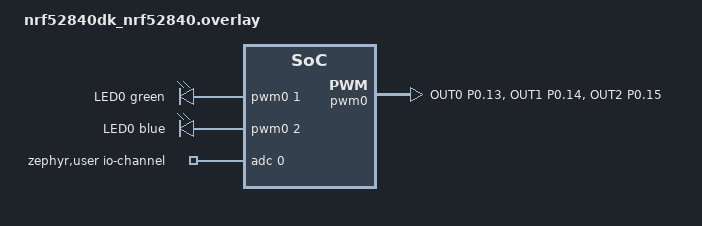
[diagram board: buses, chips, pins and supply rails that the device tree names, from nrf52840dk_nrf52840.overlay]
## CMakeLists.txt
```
# CMake min version
cmake_minimum_required(VERSION 3.8.2)

# Include Zephyr base folder
find_package(Zephyr REQUIRED HINTS $ENV{ZEPHYR_BASE})
project(ble_peripheral_simple)

# Source files
target_sources(app PRIVATE src/main.c)
target_sources(app PRIVATE src/battery.c)

target_include_directories(app PRIVATE src/inc)
```

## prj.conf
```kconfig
CONFIG_NCS_SAMPLES_DEFAULTS=y

# Bluetooth configs
CONFIG_BT=y
CONFIG_BT_PERIPHERAL=y
CONFIG_BT_MAX_CONN=2
CONFIG_BT_L2CAP_TX_BUF_COUNT=5


# GPIO configs
CONFIG_GPIO=n #ZEPHYR GPIO API conflicts with NRF GPIO API
CONFIG_LED=y
CONFIG_LED_PWM=y
CONFIG_PWM=y
CONFIG_ADC=y
CONFIG_NRFX_GPIOTE=y

#Power Management configs
CONFIG_PM=y
# Required to disable default behavior of deep sleep on timeout
CONFIG_PM_DEVICE=y

CONFIG_CRC=y

# Enable mcumgr.
CONFIG_MCUMGR=y

# Some command handlers require a large stack.
CONFIG_SYSTEM_WORKQUEUE_STACK_SIZE=4096
CONFIG_MAIN_STACK_SIZE=4096

# Ensure an MCUBoot-compatible binary is generated.
CONFIG_BOOTLOADER_MCUBOOT=y

# Enable flash operations.
CONFIG_FLASH=y

# Required by the `taskstat` command.
CONFIG_THREAD_MONITOR=y

# Support for taskstat command
CONFIG_OS_MGMT_TASKSTAT=y

# Enable statistics and statistic names.
CONFIG_STATS=y
CONFIG_STATS_NAMES=y

# Enable most core commands.
CONFIG_MCUMGR_CMD_IMG_MGMT=y
CONFIG_MCUMGR_CMD_OS_MGMT=y
CONFIG_MCUMGR_CMD_STAT_MGMT=y

# Enable logging
CONFIG_LOG=y
CONFIG_MCUBOOT_UTIL_LOG_LEVEL_DBG=y

#Enable Coded PHY & ADv data
CONFIG_BT_EXT_ADV=y
CONFIG_BT_CTLR_ADV_EXT=y
CONFIG_BT_CTLR_PHY_CODED=y
CONFIG_BT_USER_PHY_UPDATE=y
```

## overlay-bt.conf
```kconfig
# Allow for large Bluetooth data packets.
CONFIG_BT_L2CAP_TX_MTU=498
CONFIG_BT_BUF_ACL_RX_SIZE=502
CONFIG_BT_BUF_ACL_TX_SIZE=502
CONFIG_BT_CTLR_DATA_LENGTH_MAX=251

# Enable the Bluetooth mcumgr transport (unauthenticated).
CONFIG_MCUMGR_SMP_BT=y
CONFIG_MCUMGR_SMP_BT_AUTHEN=n
CONFIG_MCUMGR_SMP_BT_CONN_PARAM_CONTROL=y

# Enable the Shell mcumgr transport.
CONFIG_SHELL=y
CONFIG_MCUMGR_SMP_SHELL=y

# Enable the mcumgr Packet Reassembly feature over Bluetooth and its configuration dependencies.
# MCUmgr buffer size is optimized to fit one SMP packet divided into five Bluetooth Write Commands,
# transmitted with the maximum possible MTU value: 498 bytes.
CONFIG_MCUMGR_SMP_REASSEMBLY_BT=y
CONFIG_MCUMGR_BUF_SIZE=2475
CONFIG_OS_MGMT_MCUMGR_PARAMS=y


# Enable the LittleFS file system.
CONFIG_FILE_SYSTEM=y
CONFIG_FILE_SYSTEM_LITTLEFS=y

# Enable file system commands
CONFIG_MCUMGR_CMD_FS_MGMT=y

# Enable the storage erase command.
CONFIG_MCUMGR_GRP_ZEPHYR_BASIC=y
CONFIG_MCUMGR_GRP_BASIC_CMD_STORAGE_ERASE=y
```

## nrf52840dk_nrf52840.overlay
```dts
// To get started, press Ctrl+Space to bring up the completion menu and view the available nodes.

// You can also use the buttons in the sidebar to perform actions on nodes.
// Actions currently available include:

// * Enabling / disabling the node
// * Adding the bus to a bus
// * Removing the node
// * Connecting ADC channels

// For more help, browse the DeviceTree documentation at https://docs.zephyrproject.org/latest/guides/dts/index.html
// You can also visit the nRF DeviceTree extension documentation at https://nrfconnect.github.io/vscode-nrf-connect/devicetree/nrfdevicetree.html
    
&pinctrl {
    pwm0_default_alt: pwm0_default_alt {
            group1 {
                    psels = <NRF_PSEL(PWM_OUT0, 0, 13)>,
                            <NRF_PSEL(PWM_OUT1, 0, 14)>,
                            <NRF_PSEL(PWM_OUT2, 0, 15)>;
                    nordic,invert;
            };
    };

    pwm0_sleep_alt: pwm0_sleep_alt {
            group1 {
                    psels = <NRF_PSEL(PWM_OUT0, 0, 13)>,
                            <NRF_PSEL(PWM_OUT1, 0, 14)>,
                            <NRF_PSEL(PWM_OUT2, 0, 15)>;
                    low-power-enable;
            };
    };
};

&pwm0 {
    status = "okay";
    pinctrl-0 = <&pwm0_default_alt>;
    pinctrl-1 = <&pwm0_sleep_alt>;
    pinctrl-names = "default", "sleep";
};


/ {
pwmleds {
    compatible = "pwm-leds";
    status = "okay";


    pwm_led1: pwm_led1 {
            status = "okay";
            pwms = <&pwm0 1 PWM_MSEC(20) PWM_POLARITY_INVERTED>;
            label = "LED0 green";
    };

    pwm_led2: pwm_led2 {
            status = "okay";
            pwms = <&pwm0 2 PWM_MSEC(20) PWM_POLARITY_INVERTED>;
            label = "LED0 blue";
    };
};


zephyr,user {
        io-channels = <&adc 0>;
};
      

aliases {
    red-pwm-led = &pwm_led0;
    green-pwm-led = &pwm_led1;
    blue-pwm-led = &pwm_led2;
};
};
```

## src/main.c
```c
#include <zephyr/kernel.h>

// Devicetree + GPIO includes
#include <nrfx_gpiote.h>
#include <helpers/nrfx_gppi.h>
#if defined(DPPI_PRESENT)
#include <nrfx_dppi.h>
#else
#include <nrfx_ppi.h>
#endif
#include <zephyr/irq.h>
//nrfx GPIO driver
#include <hal/nrf_gpio.h>

//For power manager
#include <zephyr/device.h>
#include <zephyr/init.h>
#include <zephyr/pm/pm.h>
#include <zephyr/pm/device.h>
#include <zephyr/pm/policy.h>
#include <soc.h>

// Bluetooth include files
#include <zephyr/bluetooth/bluetooth.h>
#include <zephyr/bluetooth/gatt.h>
#include <zephyr/bluetooth/conn.h>
#include <zephyr/bluetooth/uuid.h>
#include <zephyr/bluetooth/services/bas.h>

#define COMPILE_BATTERY 0
#define COMPILE_RGBLED 0
#define COMPILE_ONOFF 0
#define COMPILE_DFU  0

#if COMPILE_BATTERY
#include <battery.h>
#endif
#if COMPILE_RGBLED
#include <pulse_rgb.h>
#endif

#define ON_HOLD_TIME  4000
#define OFF_HOLD_TIME 3000

// SMP-related code
#include <zephyr/mgmt/mcumgr/transport/smp_bt.h>

#ifdef CONFIG_MCUMGR_CMD_FS_MGMT
#include <zephyr/device.h>
#include <zephyr/fs/fs.h>
//#include "fs_mgmt/fs_mgmt.h"
#include <zephyr/fs/littlefs.h>
#endif
#ifdef CONFIG_MCUMGR_CMD_OS_MGMT
#include "zephyr/mgmt/mcumgr/grp/os_mgmt/os_mgmt.h"
#endif
#ifdef CONFIG_MCUMGR_CMD_IMG_MGMT
#include "zephyr/mgmt/mcumgr/grp/img_mgmt/img_mgmt.h"
#endif
#ifdef CONFIG_MCUMGR_CMD_STAT_MGMT
#include "zephyr/mgmt/mcumgr/grp/stat_mgmt/stat_mgmt.h"
#endif
#ifdef CONFIG_MCUMGR_CMD_SHELL_MGMT
#include "zephyr/mgmt/mcumgr/grp/shell_mgmt/shell_mgmt.h"
#endif
#ifdef CONFIG_MCUMGR_CMD_FS_MGMT
#include "zephyr/mgmt/mcumgr/grp/fs_mgmt/fs_mgmt.h"
#endif

#define SLEEP_S 1U

#define DEVICE_NAME "rareBit Flag Demo"
#define DEVICE_NAME_LEN (sizeof(DEVICE_NAME)-1)


//Macros required to get absolute pin numbers for use with NRF GPIO API (stupid!)
#define GET_GPIO_ID_OF_LED(LED_ID)	DT_PHANDLE_BY_IDX(LED_ID, gpios, 0)
#define GET_PORT_OF_GPIO(GPIO_ID)	DT_PROP(GPIO_ID, port)

#define GET_PORT(LED_ID)	GET_PORT_OF_GPIO(GET_GPIO_ID_OF_LED(LED_ID))
#define GET_PIN(LED_ID)		DT_GPIO_PIN(LED_ID, gpios)

#define LED0_ID 	DT_ALIAS(led0)
#define LED1_ID 	DT_ALIAS(led1)
#define LED2_ID 	DT_ALIAS(led2)
#define LED3_ID 	DT_ALIAS(led3)
//#define PWR_ON_ID	DT_ALIAS(pwr_on)

#define SW0_ID 		DT_ALIAS(sw0)
#define SW1_ID 		DT_ALIAS(sw1)
#define SW2_ID 		DT_ALIAS(sw2)

#define GPIO1_PORT	GET_PORT(LED1_ID)

#define LED0_PIN	GET_PIN(LED0_ID)
#define LED1_PIN	GET_PIN(LED1_ID)
#define LED2_PIN	GET_PIN(LED2_ID)
#define LED3_PIN	GET_PIN(LED3_ID)
//#define PWR_ON_PIN  GET_PIN(PWR_ON_ID)

#define SW0_PIN		GET_PIN(SW0_ID)
#define SW1_PIN		GET_PIN(SW1_ID)
#define SW2_PIN		GET_PIN(SW2_ID)

#define PAGE_BUTTON_PIN 	NRF_GPIO_PIN_MAP(GPIO1_PORT, SW0_PIN)
#define USB_PIN	            NRF_GPIO_PIN_MAP(GPIO1_PORT, SW1_PIN)
#define CHG_STAT_PIN	    NRF_GPIO_PIN_MAP(GPIO1_PORT, SW2_PIN)

#define HAPTIC_MOTOR_PIN    NRF_GPIO_PIN_MAP(GPIO1_PORT, LED0_PIN)

#define RED_LED_PIN       NRF_GPIO_PIN_MAP(GPIO1_PORT, LED1_PIN)
#define GREEN_LED_PIN     NRF_GPIO_PIN_MAP(GPIO1_PORT, LED2_PIN)
#define BLUE_LED_PIN      NRF_GPIO_PIN_MAP(GPIO1_PORT, LED3_PIN)
//#define PWR_ON_ABS_PIN 	  NRF_GPIO_PIN_MAP(GPIO1_PORT, PWR_ON_PIN)

#define LOW_BATT_INDIACTE_MV 3000
#define NORMAL_BATT_INDICATE_MV 3500

#define CONSOLE_LABEL DT_LABEL(DT_CHOSEN(zephyr_console))

#define MAX_TRANSMIT_SIZE 240//TODO figure this out

// Define the custom services and characteristics

#define PAGING_SERVICE_UUID 0x6d, 0x1b, 0xee, 0x1e, 0xee, 0x7d, 0xd0, 0xba, 0x7b, \
                            0x4b, 0xd5, 0x28, 0x01, 0x00, 0x21, 0x23

// Characteristic: Paging Characteristic UUID 23210002-28D5-4B7B-BA0F-7DEE1EEE1B6D
#define PAGE_ALERT_CHARACTERISTIC_UUID 0x6d, 0x1b, 0xee, 0x1e, 0xee, 0x7d, 0xd0, 0xba, 0x7b, \
                                 0x4b, 0xd5, 0x28, 0x02, 0x00, 0x21, 0x23

#define BT_UUID_PAGING_SERVICE        BT_UUID_DECLARE_128(PAGING_SERVICE_UUID)
#define BT_UUID_PAGE_ALERT_CHARACTERISTIC   BT_UUID_DECLARE_128(PAGE_ALERT_CHARACTERISTIC_UUID)

#define WORQ_THREAD_STACK_SIZE  4096
#define WORKQ_PRIORITY   4

// Define stack area used by workqueue thread
static K_THREAD_STACK_DEFINE(my_stack_area, WORQ_THREAD_STACK_SIZE);

// Define queue structure
static struct k_work_q offload_work_q = {0};


struct work_info {
    struct k_work work;
    char name[25];
} my_work;

uint8_t data_tx[MAX_TRANSMIT_SIZE];
bool debounce_check = false;


static struct bt_le_ext_adv *adv;
struct bt_conn *conn_handle = NULL;
const struct bt_gatt_attr *page_alert_attr = NULL;

bool page_flag = false;

int my_service_init(void)
{
    int err = 0;

    memset(&data_tx, 0, MAX_TRANSMIT_SIZE);

    return err;
}

// Bluetooth advertising data
static const struct bt_data ad[] = {
    BT_DATA_BYTES(BT_DATA_FLAGS, (BT_LE_AD_GENERAL | BT_LE_AD_NO_BREDR)),
    BT_DATA(BT_DATA_NAME_COMPLETE, DEVICE_NAME, DEVICE_NAME_LEN),
    BT_DATA_BYTES(BT_DATA_UUID128_ALL,
		      0x84, 0xaa, 0x60, 0x74, 0x52, 0x8a, 0x8b, 0x86,
		      0xd3, 0x4c, 0xb7, 0x1d, 0x1d, 0xdc, 0x53, 0x8d),
    BT_DATA_BYTES(BT_DATA_UUID128_ALL, PAGING_SERVICE_UUID)
};


static void create_advertising_coded(void)
{
    int err;

    struct bt_le_adv_param params = BT_LE_ADV_PARAM_INIT(BT_LE_ADV_OPT_CONNECTABLE |
                                                        BT_LE_ADV_OPT_CODED |
                                                        BT_LE_ADV_OPT_EXT_ADV,
                                                        BT_GAP_ADV_FAST_INT_MIN_2,
                                                        BT_GAP_ADV_FAST_INT_MAX_2,
                                                        NULL);
                
    err = bt_le_ext_adv_create(&params, NULL, &adv);
    if(err)
    {
        printk("Error %d could not create ext_adv.\n", err);
    }
    else printk("CODED PHY Advertising Configured.\n");

    err = bt_le_ext_adv_set_data(adv, ad, ARRAY_SIZE(ad), NULL, 0);
    if(err)
    {
        printk("Error %d could not set_data.\n", err);
    }
    else printk("CODED PHY adv data set.\n");
}

void start_advertising_coded(void)
{
    int err;

    err = bt_le_ext_adv_start(adv, NULL);
    if(err)
    {
        printk("Error: Advertising NOT started. return %d\n", err);
        
    }
    else 
	{
		printk("Bluetooth advertising started!\n");
		nrf_gpio_pin_set(BLUE_LED_PIN);
	}

}

// Instantiate the service and its characteristics
BT_GATT_SERVICE_DEFINE(
    paging_service,
    
    // Simple Service
    BT_GATT_PRIMARY_SERVICE(BT_UUID_PAGING_SERVICE),

    // Page Alert Characteristic
    BT_GATT_CHARACTERISTIC(BT_UUID_PAGE_ALERT_CHARACTERISTIC,
                    BT_GATT_CHRC_NOTIFY, 
                    BT_GATT_PERM_NONE,
                    NULL,
                    NULL,
                    NULL),
    BT_GATT_CCC(NULL, BT_GATT_PERM_WRITE | BT_GATT_PERM_READ)
   
    
);


// Connected callback function
static void connected_cb(struct bt_conn *conn, uint8_t err)
{

    struct bt_conn_info info; 
	char addr[BT_ADDR_LE_STR_LEN];

	conn_handle = conn;

    page_alert_attr = &paging_service.attrs[2];

	if (err) 
	{
		printk("Connection failed (err %u)\n", err);
		return;
	}
	else if(bt_conn_get_info(conn, &info))
	{
		printk("Could not parse connection info\n");
	}
	else
	{
		bt_addr_le_to_str(bt_conn_get_dst(conn), addr, sizeof(addr));
		
		printk("\n \n Connection established!\n\
		Connected to: %s					 \n\
		Role: %u							 \n\
		Connection interval: %u				 \n\
		Slave latency: %u					 \n\
		Connection supervisory timeout: %u	 \n"
		, addr, info.role, info.le.interval, info.le.latency, info.le.timeout);
	}

	nrfx_gpiote_out_task_enable(HAPTIC_MOTOR_PIN);
	nrf_gpio_pin_clear(BLUE_LED_PIN);

}

// Disconnected callback function
static void disconnected_cb(struct bt_conn *conn, uint8_t reason)
{
    printk("Disconnected with reason %d\n", reason);
    k_sleep(K_MSEC(100));

	conn_handle = NULL;

    start_advertising_coded();
	nrfx_gpiote_out_task_disable(HAPTIC_MOTOR_PIN);
}
/*
static bool le_param_req(struct bt_conn *conn, struct bt_le_conn_param *param)
{
	//If acceptable params, return true, otherwise return false.
	return true; 
}

static void le_param_updated(struct bt_conn *conn, uint16_t interval, uint16_t latency, uint16_t timeout)
{
	struct bt_conn_info info; 
	char addr[BT_ADDR_LE_STR_LEN];
	
	if(bt_conn_get_info(conn, &info))
	{
		printk("Could not parse connection info\n");
	}
	else
	{
		bt_addr_le_to_str(bt_conn_get_dst(conn), addr, sizeof(addr));
		
		printk("Connection parameters updated!	\n\
		Connected to: %s						\n\
		New Connection Interval: %u				\n\
		New Slave Latency: %u					\n\
		New Connection Supervisory Timeout: %u	\n"
		, addr, info.le.interval, info.le.latency, info.le.timeout);
	}
}*/

// Connection callback structure
static struct bt_conn_cb conn_callbacks = {
    .connected = connected_cb,
    .disconnected = disconnected_cb//,
    //.le_param_req			= le_param_req,
	//.le_param_updated		= le_param_updated
};


void bt_pageAlert(struct bt_conn *conn, const uint8_t *data, uint16_t len)
{
    
    // Send the notification
        
	//TODO check if connected before calling bt_gatt_notify, crashes otherwise
    if(bt_gatt_notify(conn, page_alert_attr, &data, len))
    {
        printk("Error, unable to send notification\n");
    }
    else {
        printk("Notified Peer of %d\n", (int) &data);
    }

}

void offload_function(struct k_work *work_tem)
{
	uint8_t page_d[] = {0x01};
	uint8_t * page_p = page_d;

	if (conn_handle != NULL)
		bt_pageAlert(conn_handle, page_p, 1);

#if COMPILE_ONFOFF
	int button_held_time = 0;
	while (!nrf_gpio_pin_read(PAGE_BUTTON_PIN))
	{
		k_busy_wait(1000);
		button_held_time++;

		if(button_held_time > (OFF_HOLD_TIME-1000))
		{	
			nrf_gpio_pin_clear(GREEN_LED_PIN);
		}	

		if (button_held_time > OFF_HOLD_TIME)
		{
		
			pm_state_force(0u, &(struct pm_state_info){PM_STATE_SOFT_OFF, 0, 0});

			printk("Powering Off...\n");
			nrf_gpio_pin_set(GREEN_LED_PIN);
			nrfx_gpiote_out_task_force(HAPTIC_MOTOR_PIN, 1);

			k_busy_wait(2000000);//give the user time to release the button
			
		}

	}
	
	nrf_gpio_pin_set(GREEN_LED_PIN);
	nrfx_gpiote_out_task_force(HAPTIC_MOTOR_PIN, 0);
	
#endif
		
	printk("Work thread executed. \n");
}

static void button_handler(nrfx_gpiote_pin_t pin, nrfx_gpiote_trigger_t trigger, void *context)
{
	if (debounce_check)
	{
		printk("GPIO input event callback\n");

		k_work_submit_to_queue(&offload_work_q, &my_work.work);
			
	}
	debounce_check = !debounce_check;
}

nrfx_err_t configure_haptic_button(void)
{
    nrfx_err_t err = NRFX_SUCCESS;
	uint8_t in_channel;
    uint8_t out_channel;
    uint8_t ppi_channel;

	IRQ_CONNECT(DT_IRQN(DT_NODELABEL(gpiote)),
		    DT_IRQ(DT_NODELABEL(gpiote), priority),
		    nrfx_isr, nrfx_gpiote_irq_handler, 0);

	err = nrfx_gpiote_init(0);
	if (err != NRFX_SUCCESS) {
		printk("nrfx_gpiote_init error: 0x%08X", err);
		return err;
	}

	err = nrfx_gpiote_channel_alloc(&in_channel);
	if (err != NRFX_SUCCESS) {
		printk("Failed to allocate in_channel, error: 0x%08X", err);
		return err;
	}

    err = nrfx_gpiote_channel_alloc(&out_channel);
	if (err != NRFX_SUCCESS) {
		printk("Failed to allocate out_channel, error: 0x%08X", err);
		return err;
	}

	/* Initialize input pin to generate event on high to low transition
	 * (falling edge) and call button_handler()
	 */
	static const nrfx_gpiote_input_config_t input_config = {
		.pull = NRF_GPIO_PIN_PULLUP,
	};
	const nrfx_gpiote_trigger_config_t trigger_config = {
		.trigger = NRFX_GPIOTE_TRIGGER_TOGGLE,
		.p_in_channel = &in_channel,
	};
	static const nrfx_gpiote_handler_config_t handler_config = {
		.handler = button_handler,
	};

	err = nrfx_gpiote_input_configure(PAGE_BUTTON_PIN,
					  &input_config,
					  &trigger_config,
					  &handler_config);
	if (err != NRFX_SUCCESS) {
		printk("nrfx_gpiote_input_configure error: 0x%08X", err);
		return err;
	}

    static const nrfx_gpiote_output_config_t output_config = {
		.drive = NRF_GPIO_PIN_S0S1,
		.input_connect = NRF_GPIO_PIN_INPUT_DISCONNECT,
		.pull = NRF_GPIO_PIN_NOPULL,
	};
	const nrfx_gpiote_task_config_t task_config = {
		.task_ch = out_channel,
		.polarity = NRF_GPIOTE_POLARITY_TOGGLE,
		.init_val = 0,
	};
	err = nrfx_gpiote_output_configure(HAPTIC_MOTOR_PIN,
					   &output_config,
					   &task_config);
	if (err != NRFX_SUCCESS) {
		printk("nrfx_gpiote_output_configure error: 0x%08X", err);
		return err;
	}

    nrfx_gpiote_trigger_enable(PAGE_BUTTON_PIN, true);
 

    /* Allocate a (D)PPI channel. */
	err = nrfx_gppi_channel_alloc(&ppi_channel);
	if (err != NRFX_SUCCESS) {
		printk("nrfx_gppi_channel_alloc error: 0x%08X", err);
		return 0;
	}

	/* Configure endpoints of the channel so that the input pin event is
	 * connected with the output pin OUT task. This means that each time
	 * the button is pressed, the LED pin will be toggled.
	 */
	nrfx_gppi_channel_endpoints_setup(ppi_channel,
		nrfx_gpiote_in_event_addr_get(PAGE_BUTTON_PIN),
		nrfx_gpiote_out_task_addr_get(HAPTIC_MOTOR_PIN));

	/* Enable the channel. */
	nrfx_gppi_channels_enable(BIT(ppi_channel));

    return err;
}


void main(void)
{
    nrfx_err_t err;

	printk("~~~~~~~~~~rareBit Flag Demo~~~~~~~~~~~~~\n");

	//nrf_gpio_cfg_output(PWR_ON_ABS_PIN);
	//nrf_gpio_pin_set(PWR_ON_ABS_PIN);

	nrf_gpio_cfg_input(PAGE_BUTTON_PIN, NRF_GPIO_PIN_PULLUP);
	nrf_gpio_cfg_input(USB_PIN, NRF_GPIO_PIN_NOPULL);
	nrf_gpio_cfg_input(CHG_STAT_PIN, NRF_GPIO_PIN_NOPULL);

	/* Configure to generate PORT event (wakeup) on button 1 press. */
	nrf_gpio_cfg_sense_set(PAGE_BUTTON_PIN, NRF_GPIO_PIN_SENSE_LOW);
	nrf_gpio_cfg_sense_set(USB_PIN, NRF_GPIO_PIN_SENSE_HIGH);

	nrf_gpio_cfg_output(RED_LED_PIN);
	nrf_gpio_cfg_output(GREEN_LED_PIN);
	nrf_gpio_cfg_output(BLUE_LED_PIN);


#if COMPILE_ONOFF
	
	while(!nrf_gpio_pin_read(USB_PIN))
	{
		nrf_gpio_pin_clear(RED_LED_PIN);
		k_msleep(1000);
		while(!nrf_gpio_pin_read(CHG_STAT_PIN))
		{
			nrf_gpio_pin_set(RED_LED_PIN);
			nrf_gpio_pin_clear(GREEN_LED_PIN);
		}	
	}

	nrf_gpio_pin_set(RED_LED_PIN);
	nrf_gpio_pin_set(GREEN_LED_PIN);

	int on_button_held = 0;
	while (!nrf_gpio_pin_read(PAGE_BUTTON_PIN))
	{
		nrf_gpio_pin_clear(GREEN_LED_PIN);
		k_busy_wait(1000);
		on_button_held++;

		if (on_button_held > ON_HOLD_TIME)
		{
			nrf_gpio_pin_set(GREEN_LED_PIN);
			break;
		} 

		//TODO continue to select different modes, like DFU, 
		//for on_button_held length values
	}

	if (on_button_held > ON_HOLD_TIME)
    {
        printk("Initializing...\n");
        k_busy_wait(2000000);
    }
	else
	{
		printk("Powering Off...\n");
		nrf_gpio_pin_set(GREEN_LED_PIN);

		pm_state_force(0u, &(struct pm_state_info){PM_STATE_SOFT_OFF, 0, 0});
	    k_sleep(K_SECONDS(SLEEP_S));

	}
#endif
	//Continues...
	k_work_queue_start(&offload_work_q, my_stack_area,
					K_THREAD_STACK_SIZEOF(my_stack_area), WORKQ_PRIORITY,
					NULL);
	strcpy(my_work.name, "Bluetooth Notify thread");
	k_work_init(&my_work.work, offload_function);
	
    //Initialize Button/Motor Peripherals
    err = configure_haptic_button();
    if (err != NRFX_SUCCESS)
    {
        return;
    } 

    int rc;

#if COMPILE_BATTERY
    //Initialize Battery Status checks
    rc = battery_measure_enable(true);
    if (rc != 0) {
        printk("Failed initialize battery measurement: %d\n", err);
        return;
    }
#endif

    // Initialize the Bluetooth stack
    rc = bt_enable(NULL);
    if (rc)
    {
        printk("Bluetooth init failed (err %d)\n", err);
        return;
    }

    rc = my_service_init();
    if(rc)
    {
        printk("Could not initialize simple service \n");
        return;
    }

    printk("....\n Bluetooth stack init success\n");

#if COMPILE_DFU
	smp_bt_register();
	//"E: Unable to register handle 0x0010" ??	       
#endif

    // Register for connection callbacks
    bt_conn_cb_register(&conn_callbacks);

    // Create the Extended Advertising
    create_advertising_coded();

    //Start advertising
    start_advertising_coded();

	int blink_cnt = 0;
    while(1)
    {

		k_msleep(100);
		blink_cnt++;
		if (blink_cnt >= 100)
		{
			nrf_gpio_pin_set(BLUE_LED_PIN);
			k_busy_wait(200000);
			nrf_gpio_pin_clear(BLUE_LED_PIN);
			blink_cnt = 0;
			
		}

#if COMPILE_BATTERY
		int batt_mV = battery_sample();

		if (batt_mV < 0) {
			printk("Failed to read battery voltage: %d\n",
			       batt_mV);
			break;
		}
        else{
            if (batt_mV < LOW_BATT_INDIACTE_MV)
            {
                //Set Red LED
            }
            else if (batt_mV > NORMAL_BATT_INDICATE_MV)
            {
                //Clear Red LED
            }
            else{
                //Do nothing
            }
        }
#endif
#if !COMPILE_ON_OFF
		if(nrf_gpio_pin_read(USB_PIN))
		{
			if(nrf_gpio_pin_read(CHG_STAT_PIN))
			{
				nrf_gpio_pin_clear(RED_LED_PIN);
				nrf_gpio_pin_set(GREEN_LED_PIN);
			}
			else
				nrf_gpio_pin_set(RED_LED_PIN);
		}
		else
		{
			nrf_gpio_pin_clear(RED_LED_PIN);
			nrf_gpio_pin_clear(GREEN_LED_PIN);
		}
			
#endif
    }
}
```

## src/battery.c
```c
/*
 * Copyright (c) 2018-2019 Peter Bigot Consulting, LLC
 * Copyright (c) 2019-2020 Nordic Semiconductor ASA
 *
 * SPDX-License-Identifier: Apache-2.0
 */


#include <math.h>
#include <stdio.h>
#include <stdlib.h>

#include <zephyr/kernel.h>
#include <zephyr/init.h>
#include <zephyr/drivers/gpio.h>
#include <zephyr/drivers/adc.h>
#include <zephyr/drivers/sensor.h>
#include <zephyr/logging/log.h>

#include "battery.h"

LOG_MODULE_REGISTER(BATTERY, CONFIG_ADC_LOG_LEVEL);

#define VBATT DT_PATH(vbatt)
#define ZEPHYR_USER DT_PATH(zephyr_user)

#ifdef CONFIG_BOARD_THINGY52_NRF52832
/* This board uses a divider that reduces max voltage to
 * reference voltage (600 mV).
 */
#define BATTERY_ADC_GAIN ADC_GAIN_1
#else
/* Other boards may use dividers that only reduce battery voltage to
 * the maximum supported by the hardware (3.6 V)
 */
#define BATTERY_ADC_GAIN ADC_GAIN_1_6
#endif

struct io_channel_config {
	uint8_t channel;
};

struct gpio_channel_config {
	const char *label;
	uint8_t pin;
	uint8_t flags;
};

struct divider_config {
	struct io_channel_config io_channel;
	struct gpio_channel_config power_gpios;
	/* output_ohm is used as a flag value: if it is nonzero then
	 * the battery is measured through a voltage divider;
	 * otherwise it is assumed to be directly connected to Vdd.
	 */
	uint32_t output_ohm;
	uint32_t full_ohm;
};

static const struct divider_config divider_config = {
#if DT_NODE_HAS_STATUS(VBATT, okay)
	.io_channel = {
		DT_IO_CHANNELS_INPUT(VBATT),
	},
#if DT_NODE_HAS_PROP(VBATT, power_gpios)
	.power_gpios = {
		DT_GPIO_LABEL(VBATT, power_gpios),
		DT_GPIO_PIN(VBATT, power_gpios),
		DT_GPIO_FLAGS(VBATT, power_gpios),
	},
#endif
	.output_ohm = DT_PROP(VBATT, output_ohms),
	.full_ohm = DT_PROP(VBATT, full_ohms),
#else /* /vbatt exists */
	.io_channel = {
		DT_IO_CHANNELS_INPUT(ZEPHYR_USER),
	},
#endif /* /vbatt exists */
};

struct divider_data {
	const struct device *adc;
	const struct device *gpio;
	struct adc_channel_cfg adc_cfg;
	struct adc_sequence adc_seq;
	int16_t raw;
};
static struct divider_data divider_data = {
#if DT_NODE_HAS_STATUS(VBATT, okay)
	.adc = DEVICE_DT_GET(DT_IO_CHANNELS_CTLR(VBATT)),
#else
	.adc = DEVICE_DT_GET(DT_IO_CHANNELS_CTLR(ZEPHYR_USER)),
#endif
};

static int divider_setup(void)
{
	const struct divider_config *cfg = &divider_config;
	const struct io_channel_config *iocp = &cfg->io_channel;
	const struct gpio_channel_config *gcp = &cfg->power_gpios;
	struct divider_data *ddp = &divider_data;
	struct adc_sequence *asp = &ddp->adc_seq;
	struct adc_channel_cfg *accp = &ddp->adc_cfg;
	int rc;

	if (!device_is_ready(ddp->adc)) {
		LOG_ERR("ADC device is not ready %s", ddp->adc->name);
		return -ENOENT;
	}

	if (gcp->label) {
		ddp->gpio = device_get_binding(gcp->label);
		if (ddp->gpio == NULL) {
			LOG_ERR("Failed to get GPIO %s", gcp->label);
			return -ENOENT;
		}
		rc = gpio_pin_configure(ddp->gpio, gcp->pin,
					GPIO_OUTPUT_INACTIVE | gcp->flags);
		if (rc != 0) {
			LOG_ERR("Failed to control feed %s.%u: %d",
				gcp->label, gcp->pin, rc);
			return rc;
		}
	}

	*asp = (struct adc_sequence){
		.channels = BIT(0),
		.buffer = &ddp->raw,
		.buffer_size = sizeof(ddp->raw),
		.oversampling = 4,
		.calibrate = true,
	};

#ifdef CONFIG_ADC_NRFX_SAADC
	*accp = (struct adc_channel_cfg){
		.gain = BATTERY_ADC_GAIN,
		.reference = ADC_REF_INTERNAL,
		.acquisition_time = ADC_ACQ_TIME(ADC_ACQ_TIME_MICROSECONDS, 40),
	};

	if (cfg->output_ohm != 0) {
		accp->input_positive = SAADC_CH_PSELP_PSELP_AnalogInput0
			+ iocp->channel;
	} else {
		accp->input_positive = SAADC_CH_PSELP_PSELP_AnalogInput1;
	}

	asp->resolution = 14;
#else /* CONFIG_ADC_var */
#error Unsupported ADC
#endif /* CONFIG_ADC_var */

	rc = adc_channel_setup(ddp->adc, accp);
	LOG_INF("Setup AIN%u got %d", iocp->channel, rc);

	return rc;
}

static bool battery_ok;

static int battery_setup(const struct device *arg)
{
	int rc = divider_setup();

	battery_ok = (rc == 0);
	LOG_INF("Battery setup: %d %d", rc, battery_ok);
	return rc;
}

SYS_INIT(battery_setup, APPLICATION, CONFIG_APPLICATION_INIT_PRIORITY);

int battery_measure_enable(bool enable)
{
	int rc = -ENOENT;

	if (battery_ok) {
		const struct divider_data *ddp = &divider_data;
		const struct gpio_channel_config *gcp = &divider_config.power_gpios;

		rc = 0;
		if (ddp->gpio) {
			rc = gpio_pin_set(ddp->gpio, gcp->pin, enable);
		}
	}
	return rc;
}

int battery_sample(void)
{
	int rc = -ENOENT;

	if (battery_ok) {
		struct divider_data *ddp = &divider_data;
		const struct divider_config *dcp = &divider_config;
		struct adc_sequence *sp = &ddp->adc_seq;

		rc = adc_read(ddp->adc, sp);
		sp->calibrate = false;
		if (rc == 0) {
			int32_t val = ddp->raw;

			adc_raw_to_millivolts(adc_ref_internal(ddp->adc),
					      ddp->adc_cfg.gain,
					      sp->resolution,
					      &val);

			if (dcp->output_ohm != 0) {
				rc = val * (uint64_t)dcp->full_ohm
					/ dcp->output_ohm;
				LOG_INF("raw %u ~ %u mV => %d mV\n",
					ddp->raw, val, rc);
			} else {
				rc = val;
				LOG_INF("raw %u ~ %u mV\n", ddp->raw, val);
			}
		}
	}

	return rc;
}

unsigned int battery_level_pptt(unsigned int batt_mV,
				const struct battery_level_point *curve)
{
	const struct battery_level_point *pb = curve;

	if (batt_mV >= pb->lvl_mV) {
		/* Measured voltage above highest point, cap at maximum. */
		return pb->lvl_pptt;
	}
	/* Go down to the last point at or below the measured voltage. */
	while ((pb->lvl_pptt > 0)
	       && (batt_mV < pb->lvl_mV)) {
		++pb;
	}
	if (batt_mV < pb->lvl_mV) {
		/* Below lowest point, cap at minimum */
		return pb->lvl_pptt;
	}

	/* Linear interpolation between below and above points. */
	const struct battery_level_point *pa = pb - 1;

	return pb->lvl_pptt
	       + ((pa->lvl_pptt - pb->lvl_pptt)
		  * (batt_mV - pb->lvl_mV)
		  / (pa->lvl_mV - pb->lvl_mV));
}
```

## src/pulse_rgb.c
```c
/*
#include <zephyr/kernel.h>

#include <zephyr/device.h>
#include <zephyr/drivers/pwm.h>
#include <pulse_rgb.h>

static const struct pwm_dt_spec red_pwm_led =
	PWM_DT_SPEC_GET(DT_ALIAS(red_pwm_led));
static const struct pwm_dt_spec green_pwm_led =
	PWM_DT_SPEC_GET(DT_ALIAS(green_pwm_led));
static const struct pwm_dt_spec blue_pwm_led =
	PWM_DT_SPEC_GET(DT_ALIAS(blue_pwm_led));

#define FAST_PULSE_DELAY K_MSEC(10)
#define SLOW_PULSE_DELAY K_MSEC(10)

#define STEP_SIZE PWM_USEC(300)

void pulse_red(int num_pulses, bool fast){

	int ret;
	uint32_t pulse_red;

	if (!device_is_ready(red_pwm_led.dev))
	{
		printk("Error: red LED device not ready\n");
		return;
	}

	for (int ct = 0; ct < num_pulses; ct++){
		for (uint32_t pulse_red = 0U; pulse_red <= red_pwm_led.period; pulse_red += STEP_SIZE) 
		{
			ret = pwm_set_pulse_dt(&red_pwm_led, pulse_red);
			printk("%d", pulse_red); printk("\n");
			if (ret != 0) {
				printk("Error %d: red write failed\n",
						ret);
				return;
			}

			if (fast) k_sleep(FAST_PULSE_DELAY);
			else      k_sleep(SLOW_PULSE_DELAY);
		}

	for (pulse_red = red_pwm_led.period; pulse_red >= STEP_SIZE; pulse_red -= STEP_SIZE) 
		{
			ret = pwm_set_pulse_dt(&red_pwm_led, pulse_red);
			printk("%d", pulse_red); printk("\n");
			if (ret != 0) {
				printk("Error %d: red write failed\n",
						ret);
				return;
			}

			if (fast) k_sleep(FAST_PULSE_DELAY);
			else      k_sleep(SLOW_PULSE_DELAY);		
		}
	}

	ret = pwm_set_pulse_dt(&red_pwm_led, 0);
	if (ret != 0) {
		printk("Error %d: red write failed\n",
				ret);
		return;
	}

}

void pulse_green(int num_pulses, bool fast){

	int ret;
	uint32_t pulse_green;

	if (!device_is_ready(green_pwm_led.dev))
	{
		printk("Error: green LED device not ready\n");
		return;
	}

	for (int ct = 0; ct < num_pulses; ct++){
		for (uint32_t pulse_green = 0U; pulse_green <= green_pwm_led.period; pulse_green += STEP_SIZE) 
		{
			ret = pwm_set_pulse_dt(&green_pwm_led, pulse_green);
			printk("%d", pulse_green); printk("\n");
			if (ret != 0) {
				printk("Error %d: green write failed\n",
						ret);
				return;
			}

			if (fast) k_sleep(FAST_PULSE_DELAY);
			else      k_sleep(SLOW_PULSE_DELAY);
		}

		for (pulse_green = green_pwm_led.period; pulse_green >= STEP_SIZE; pulse_green -= STEP_SIZE) 
		{
			ret = pwm_set_pulse_dt(&green_pwm_led, pulse_green);
			printk("%d", pulse_green); printk("\n");
			if (ret != 0) {
				printk("Error %d: green write failed\n",
						ret);
				return;
			}

			if (fast) k_sleep(FAST_PULSE_DELAY);
			else      k_sleep(SLOW_PULSE_DELAY);
		}
	}

	ret = pwm_set_pulse_dt(&green_pwm_led, 0);
	if (ret != 0) {
		printk("Error %d: green write failed\n",
				ret);
		return;
	}

}

void pulse_blue(int num_pulses, bool fast){

	int ret;
	uint32_t pulse_blue;

	if (!device_is_ready(blue_pwm_led.dev))
	{
		printk("Error: bleu LED device not ready\n");
		return;
	}

	for (int ct = 0; ct < num_pulses; ct++){
		for (uint32_t pulse_blue = 0U; pulse_blue <= blue_pwm_led.period; pulse_blue += STEP_SIZE) 
		{
			ret = pwm_set_pulse_dt(&blue_pwm_led, pulse_blue);
			//printk("%d", pulse_blue); printk("\n");
			if (ret != 0) {
				printk("Error %d: blue write failed\n",
						ret);
				return;
			}

			if (fast) k_sleep(FAST_PULSE_DELAY);
			else      k_sleep(SLOW_PULSE_DELAY);
		}

		for (pulse_blue = blue_pwm_led.period; pulse_blue >= STEP_SIZE; pulse_blue -= STEP_SIZE) 
		{
			ret = pwm_set_pulse_dt(&blue_pwm_led, pulse_blue);
			//printk("%d", pulse_blue); printk("\n");
			if (ret != 0) {
				printk("Error %d: blue write failed\n",
						ret);
				return;
			}

			if (fast) k_sleep(FAST_PULSE_DELAY);
			else      k_sleep(SLOW_PULSE_DELAY);
		}
	}

	ret = pwm_set_pulse_dt(&blue_pwm_led, 0);
	if (ret != 0) {
		printk("Error %d: blue write failed\n",
				ret);
		return;
	}

}*/
```
